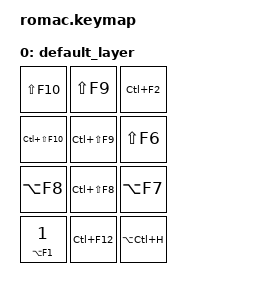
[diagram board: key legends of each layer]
/*
 * Copyright (c) 2020 The ZMK Contributors
 *
 * SPDX-License-Identifier: MIT
 */

#include <behaviors.dtsi>
#include <dt-bindings/zmk/keys.h>
#include <dt-bindings/zmk/bt.h>
#include <dt-bindings/zmk/outputs.h>



/ {
    keymap {
        compatible = "zmk,keymap";

        default_layer {
// -------------------
// | 7      |  8  |  9  |
// | 4      |  5  |  6  |
// | 1      |  2  |  3  |
// | MO(1)  |  0  |  .  |
// ----------------------
            bindings = <
    &kp LS(F10) &kp LS(F9) &kp LC(F2)
    &kp LC(LS(F10)) &kp LC(LS(F9)) &kp LS(F6)
    &kp LA(F8) &kp LC(LS(F8)) &kp LA(F7)
    &mt LA(F1) NUMBER_1  &kp LC(F12) &kp LA(LC(H))
            >;
        };
    };
};

